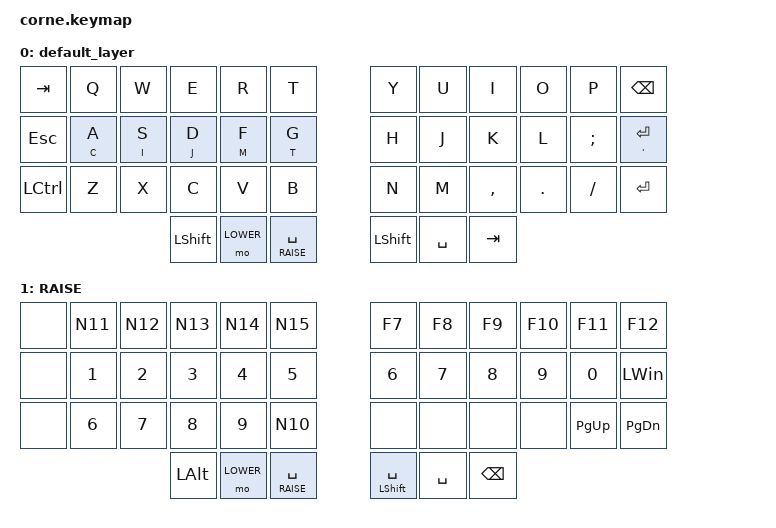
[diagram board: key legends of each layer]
/*
 * Copyright (c) 2020 The ZMK Contributors
 *
 * SPDX-License-Identifier: MIT
 */
 
#define DEFAULT  0
#define LOWER    1
#define RAISE    2
#define THREE    3


#include <behaviors.dtsi>
#include <dt-bindings/zmk/keys.h>
#include <dt-bindings/zmk/bt.h>
#include <dt-bindings/zmk/rgb.h>
#include <dt-bindings/zmk/ext_power.h>
#include <dt-bindings/zmk/outputs.h>



&spi1 {
	compatible = "nordic,nrf-spim";
	/* Cannot be used together with i2c0. */
	status = "okay";
	mosi-pin = <6>;
	// Unused pins, needed for SPI definition, but not used by the ws2812 driver itself.
	sck-pin = <5>;
	miso-pin = <7>;

	led_strip: ws2812@0 {
		compatible = "worldsemi,ws2812-spi";
		label = "SK6812mini";

		/* SPI */
		reg = <0>; /* ignored, but necessary for SPI bindings */
		spi-max-frequency = <4000000>;

		/* WS2812 */
		chain-length = <27>; /* There are per-key RGB, but the first 6 are underglow */
		spi-one-frame = <0x70>;
		spi-zero-frame = <0x40>;
	};
};

/ {
	chosen {
		zmk,underglow = &led_strip;
	};
};

/ {
    conditional_layers {
        compatible = "zmk,conditional-layers";
        THREE {
            if-layers = <1 2>;
            then-layer = <3>;
        };
    };
};


/ {
        keymap {
                compatible = "zmk,keymap";

                default_layer {
// -----------------------------------------------------------------------------------------
// |  TAB |  Q  |  W  |  E  |  R  |  T  |   |  Y  |  U   |  I  |  O  |  P  | BSPC |
// | ESC  |  C  |  I  |  J  |  M  |  T  |   |  H  |  J   |  K  |  L  |  ;  | '    |
// | CTRL |  Z  |  X  |  C  |  V  |  B  |   |  N  |  M   |  ,  |  .  |  /  | RET  |
//                    | LALT| LWR |SPC  |   | SHFT| SPC  | TAB |
                        bindings = <
   &kp TAB   &kp Q &kp W &kp E &kp R      &kp T     &kp Y            &kp U           &kp I           &kp O   &kp P    &kp BSPC
   &kp ESC &mt C A &mt I S &mt J D &mt M F  &mt T G    &kp H            &kp J           &kp K           &kp L   &kp SEMI &mt SQT RET
   &kp LCTRL &kp Z &kp X &kp C &kp V      &kp B     &kp N            &kp M           &kp COMMA       &kp DOT &kp FSLH &kp RET
                               &kp LSHIFT &mo LOWER &lt RAISE SPACE  &kp LSHFT &kp SPACE &kp TAB
                        >;
                };
		
                RAISE { 
// -----------------------------------------------------------------------------------------
// |     | 11 | 12 | 13 | 14  | 15  |   |  F7  |  F8 |  F9 | F10 | F11 | F12 |
// |     | 1  | 2  | 3  |  4  |  5  |   |  6   |  7  |  8  |  9  |  0  |LWIN |
// |     | 6  | 7  | 8  |  9  | 10  |   |      |     |     |     |PGUP |PGDN |
//                   | LALT| LWR | RAI |   | SHFT | SPC | BSPC|
                        bindings = <
   &none &kp N11 &kp N12   &kp N13   &kp N14    &kp N15            &kp F7    &kp F8    &kp F9   &kp F10 &kp F11   &kp F12 
   &none  &kp N1 &kp N2   &kp N3   &kp N4    &kp N5            &kp N6    &kp N7    &kp N8   &kp N9  &kp N0    &kp LWIN
   &none  &kp N6  &kp N7 &kp N8    &kp N9     &kp N10             &none     &none     &none    &none   &kp PG_UP &kp PG_DN
                    	  &kp LALT     &mo LOWER &lt RAISE SPACE  &mt LSHFT SPACE &kp SPACE &kp BSPC
                        >;
                };
        };
};
